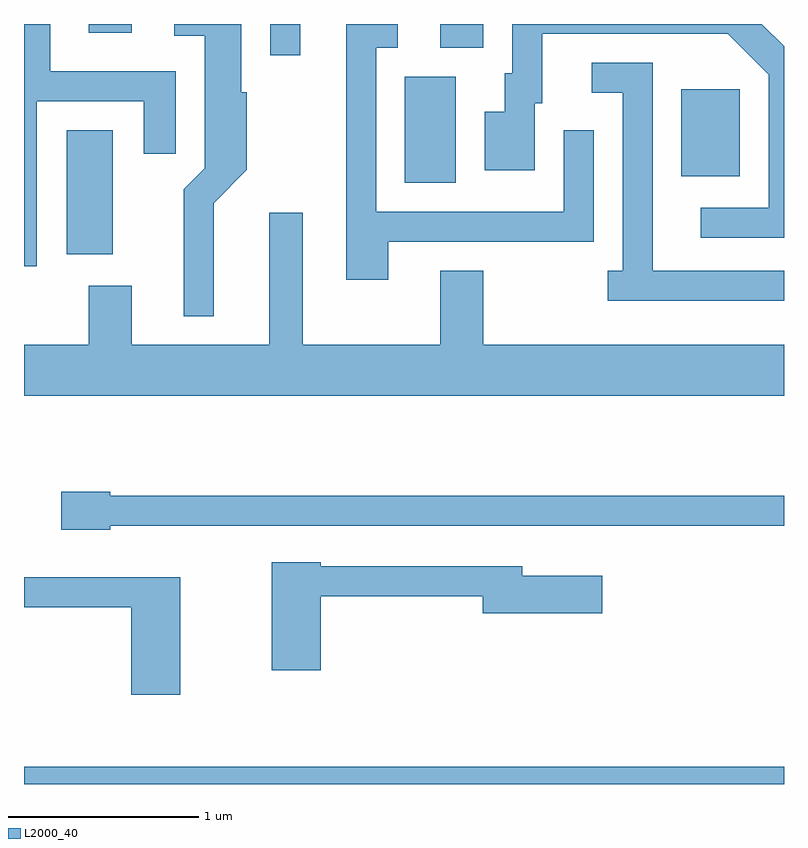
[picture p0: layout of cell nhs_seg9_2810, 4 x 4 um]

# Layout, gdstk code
import gdstk
lib = gdstk.Library(unit=1e-6, precision=1e-09)
def R(c, l, rs):  # rectangles x0, y0, x1, y1
    for r in rs: c.add(gdstk.rectangle(r[:2], r[2:], *l))
def P(c, l, *ps):  # polygons
    for p in ps: c.add(gdstk.Polygon(p, *l))
L2000_40 = (2000, 40)

nhs_seg9_2810 = lib.new_cell('nhs_seg9_2810')
R(nhs_seg9_2810, L2000_40, [(267.611,1996.432,271.611,1996.524), (267.836,1999.221,268.079,1999.874), (269.616,1999.596,269.884,2000.154), (271.071,1999.631,271.379,2000.089), (268.906,2000.268,269.064,2000.432), (269.801,2000.306,270.029,2000.432), (267.951,2000.386,268.179,2000.432)])
P(nhs_seg9_2810, L2000_40, [(269.529,1999.286),(270.609,1999.286),(270.609,1999.873),(270.451,1999.873),(270.451,1999.444),(269.464,1999.444),(269.464,2000.306),(269.578,2000.306),(269.578,2000.432),(269.306,2000.432),(269.306,1999.086),(269.529,1999.086)],
  [(268.609,1999.489),(268.784,1999.664),(268.784,2000.074),(268.754,2000.074),(268.754,2000.432),(268.403,2000.432),(268.403,2000.371),(268.561,2000.371),(268.561,1999.672),(268.451,1999.562),(268.451,1998.893),(268.609,1998.893)],
  [(267.679,2000.026),(268.241,2000.026),(268.241,1999.748),(268.409,1999.748),(268.409,2000.184),(267.749,2000.184),(267.749,2000.432),(267.611,2000.432),(267.611,1999.156),(267.679,1999.156)],
  [(271.611,2000.315),(271.494,2000.432),(270.181,2000.432),(270.181,2000.174),(270.141,2000.174),(270.141,1999.969),(270.036,1999.969),(270.036,1999.661),(270.299,1999.661),(270.299,2000.016),(270.339,2000.016),(270.339,2000.381),(271.314,2000.381),(271.531,2000.164),(271.531,1999.464),(271.173,1999.464),(271.173,1999.306),(271.611,1999.306)],
  [(271.611,1999.134),(270.919,1999.134),(270.919,2000.229),(270.598,2000.229),(270.598,2000.071),(270.761,2000.071),(270.761,1999.134),(270.683,1999.134),(270.683,1998.976),(271.611,1998.976)],
  [(271.611,1998.744),(270.029,1998.744),(270.029,1999.134),(269.801,1999.134),(269.801,1998.744),(269.079,1998.744),(269.079,1999.439),(268.901,1999.439),(268.901,1998.744),(268.179,1998.744),(268.179,1999.054),(267.951,1999.054),(267.951,1998.744),(267.611,1998.744),(267.611,1998.476),(271.611,1998.476)],
  [(268.064,1997.791),(271.611,1997.791),(271.611,1997.949),(268.064,1997.949),(268.064,1997.969),(267.806,1997.969),(267.806,1997.771),(268.064,1997.771)],
  [(269.174,1997.421),(270.026,1997.421),(270.026,1997.331),(270.654,1997.331),(270.654,1997.529),(270.234,1997.529),(270.234,1997.579),(269.174,1997.579),(269.174,1997.599),(268.916,1997.599),(268.916,1997.031),(269.174,1997.031)],
  [(268.434,1997.519),(267.611,1997.519),(267.611,1997.361),(268.176,1997.361),(268.176,1996.901),(268.434,1996.901)])

lib.write_gds('nhs_seg9_2810.gds')
